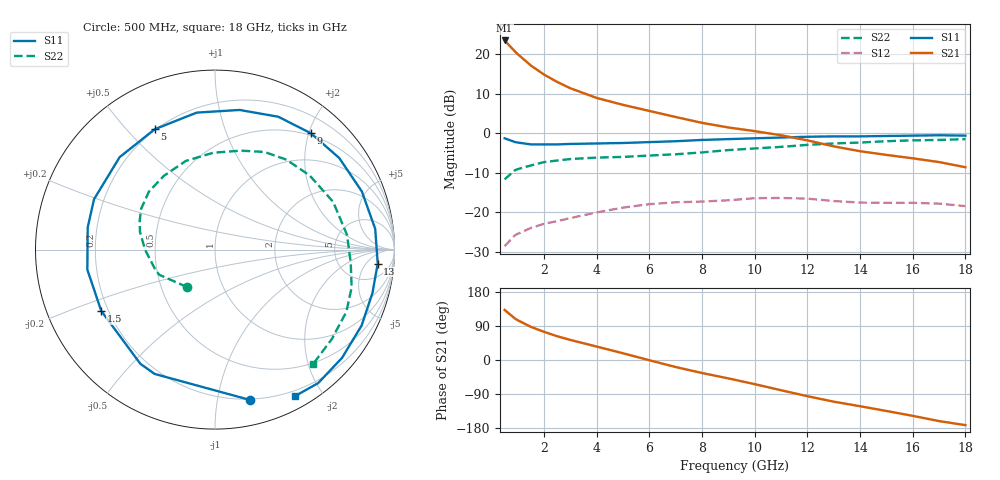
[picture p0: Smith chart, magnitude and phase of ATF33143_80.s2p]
! FILENAME:  ATF33143_80.S2P  VERSION: 14.1
! BIAS CONDITIONS: Vds = 4.000 V, Id = 80.000 mA
! Calibration  : K-TRL
# GHZ S MA R 50
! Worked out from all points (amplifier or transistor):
!   22 points, 500 MHz to 18 GHz, reference 50 ohm
!   highest |S21| = 23.5 dB at 500 MHz (marker M1)
!   |S21| within 3 dB of that: start of sweep to 925.3 MHz
!   unconditionally stable (mu >= 1): 3.611 GHz to end of sweep
!   at 1.5 GHz: K = 0.70, MSG = 20.6 dB, |S12| = -24.0 dB
!   at 8 GHz: K = 1.11, MAG = 7.9 dB, |S12| = -17.3 dB
!   at 18 GHz: K = 1.19, MAG = 2.3 dB, |S12| = -18.5 dB
!   lowest NFmin = 0.30 dB at 500 MHz
!   S11 on the Smith chart (normalised r, x): 500 MHz: 0.19, -1.24; 1.5 GHz: 0.17, -0.25; 5 GHz: 0.20, +0.60; 9 GHz: 0.46, +2.04; 13 GHz: 12, -11; 18 GHz: 0.14, -1.68
0.5  0.86 -76.9  14.93 132.1  0.037 55.4  0.26 -126.6
0.9  0.77 -115.9  10.77 109.1  0.051 43.9  0.34 -155.5
1  0.76 -123.2  10 104.8  0.053 42.1  0.35 -160.5
1.5  0.72 -151.7  7.18 87.4  0.063 36.0  0.39 -180.0
2  0.72 -171.1  5.51 74.3  0.071 32.1  0.43 166.6
2.5  0.72 170.1  4.45 62.6  0.077 28.1  0.45 158.7
3  0.73 157.4  3.7 52.9  0.084 24.6  0.47 151.2
4  0.74 135.9  2.79 35.4  0.099 16.4  0.49 138.7
5  0.75 116.6  2.28 17.7  0.114 5.7  0.5 124.7
6  0.77 97.6  1.91 -0.7  0.126 -6.9  0.52 108.3
7  0.79 80.0  1.6 -18.6  0.133 -20.6  0.54 91.0
8  0.82 64.5  1.35 -34.4  0.136 -32.0  0.57 75.3
9  0.84 50.5  1.18 -48.6  0.141 -42.1  0.61 63.1
10  0.86 36.4  1.06 -63.7  0.15 -54.0  0.64 51.5
11  0.88 21.6  0.94 -79.8  0.151 -67.3  0.67 38.0
12  0.9 7.4  0.81 -95.5  0.148 -80.2  0.71 22.0
13  0.91 -4.9  0.68 -110.0  0.138 -92.0  0.74 6.4
14  0.91 -15.5  0.59 -122.0  0.132 -100.8  0.76 -5.6
15  0.92 -27.4  0.53 -134.5  0.131 -110.8  0.79 -15.5
16  0.93 -40.5  0.48 -147.4  0.131 -121.5  0.81 -25.4
17  0.94 -52.3  0.43 -161.2  0.128 -134.0  0.82 -37.6
18  0.93 -61.3  0.37 -171.9  0.119 -142.9  0.84 -49.5
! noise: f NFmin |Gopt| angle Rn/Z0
0.5  0.3  0.4  28.2  0.08
0.9  0.35  0.31  44.1  0.07
1  0.36  0.3  47.4  0.07
2  0.46  0.22  117  0.05
2.5  0.52  0.26  157.7  0.04
4  0.69  0.39  -157.2  0.044
5  0.8  0.46  -132.4  0.07
7  1.02  0.57  -88.8  0.25
8  1.12  0.63  -70.5  0.42
10  1.32  0.76  -40.4  0.83
